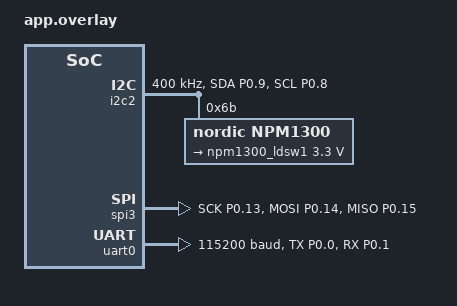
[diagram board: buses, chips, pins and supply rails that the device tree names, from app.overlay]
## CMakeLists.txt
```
cmake_minimum_required(VERSION 3.20.0)

find_package(Zephyr REQUIRED HINTS $ENV{ZEPHYR_BASE})
project(memory)

target_sources(app PRIVATE src/main.c)
```

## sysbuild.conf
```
SB_CONFIG_WIFI_NRF70=y
SB_CONFIG_WIFI_NRF70_SCAN_ONLY=y
```

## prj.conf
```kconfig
# ==========================================================
# SYSTEM, KERNEL & MEMORY
# ==========================================================
CONFIG_EVENTS=y
CONFIG_ZBUS=y
CONFIG_SMF=y
CONFIG_ZBUS_MSG_SUBSCRIBER=y

# --- ADJUSTED MEMORY LIMITS TO FIT IN RAM ---
CONFIG_MAIN_STACK_SIZE=4096
CONFIG_SYSTEM_WORKQUEUE_STACK_SIZE=4096
CONFIG_HEAP_MEM_POOL_SIZE=16000

# --- CATCH CRASHES IN HUMAN TEXT ---
CONFIG_HW_STACK_PROTECTION=y
CONFIG_INIT_STACKS=y
CONFIG_THREAD_STACK_INFO=y

# ==========================================================
# C++ & EDGE IMPULSE SDK (Replaces Picolibc)
# ==========================================================
CONFIG_CPP=y
CONFIG_STD_CPP17=y
CONFIG_REQUIRES_FULL_LIBCPP=y
CONFIG_NEWLIB_LIBC=y
CONFIG_NEWLIB_LIBC_FLOAT_PRINTF=y
CONFIG_CBPRINTF_FP_SUPPORT=y
CONFIG_FPU=y

# ==========================================================
# CONSOLE & LOGGING
# ==========================================================
CONFIG_SERIAL=y
CONFIG_CONSOLE=y
CONFIG_UART_CONSOLE=y
CONFIG_STDOUT_CONSOLE=y
CONFIG_PRINTK=y
CONFIG_LOG=y
CONFIG_LOG_MODE_IMMEDIATE=y
CONFIG_STACK_SENTINEL=y             

# ==========================================================
# SENSORS: I2C (BMI270/ICP20100 now driven by raw I2C)
# ==========================================================
CONFIG_I2C=y

CONFIG_ASSERT=y
CONFIG_THREAD_NAME=y
CONFIG_RESET_ON_FATAL_ERROR=n

# ==========================================================
# UI: OLED + PWM LEDs + BUZZER
# ==========================================================
CONFIG_DISPLAY=n
#CONFIG_SSD1306=y
#CONFIG_CHARACTER_FRAMEBUFFER=y
CONFIG_PWM=y
CONFIG_LED=y
CONFIG_LED_PWM=y

# ==========================================================
# PMIC: nPM1300
# ==========================================================
CONFIG_SENSOR=y
CONFIG_MFD_NPM13XX=y
CONFIG_REGULATOR=y
CONFIG_REGULATOR_NPM13XX=y
CONFIG_CHARGER=y
CONFIG_NPM13XX_CHARGER=y

# ==========================================================
# WI-FI (SCAN ONLY)
# ==========================================================
CONFIG_SPI=y
CONFIG_WIFI=y
CONFIG_WIFI_NRF70=y
CONFIG_NETWORKING=y
CONFIG_NET_MGMT=y
CONFIG_NET_MGMT_EVENT=y
CONFIG_NET_MGMT_EVENT_INFO=y
CONFIG_NET_MGMT_EVENT_QUEUE_SIZE=16
CONFIG_NET_L2_WIFI_MGMT=y

CONFIG_NET_L2_ETHERNET=y
CONFIG_NET_IPV4=y

CONFIG_NRF_WIFI_CTRL_HEAP_SIZE=10000
CONFIG_NRF_WIFI_DATA_HEAP_SIZE=12000


# Enable a random MAC address
CONFIG_WIFI_RANDOM_MAC_ADDRESS=y

# Enable a hardware entropy generator 
CONFIG_ENTROPY_GENERATOR=y

CONFIG_WIFI_LOG_LEVEL_INF=y
CONFIG_WIFI_NRF70_LOG_LEVEL_INF=y
CONFIG_NET_LOG=y

CONFIG_NRF70_RX_NUM_BUFS=4
CONFIG_NET_BUF_RX_COUNT=6
CONFIG_NET_BUF_TX_COUNT=6
CONFIG_NET_PKT_RX_COUNT=4
CONFIG_NET_PKT_TX_COUNT=4

CONFIG_NET_TX_STACK_SIZE=1024
CONFIG_NET_RX_STACK_SIZE=1024


# ==========================================================
# LTE MODEM (nRF9151 — socket offload for MQTT)
# ==========================================================
CONFIG_NRF_MODEM_LIB=y
CONFIG_LTE_LINK_CONTROL=y
CONFIG_LTE_NETWORK_MODE_LTE_M_GPS=y
CONFIG_MODEM_INFO=y
CONFIG_NET_SOCKETS=y
CONFIG_NET_SOCKETS_OFFLOAD=y
CONFIG_POSIX_API=y
# RC oscillator — no external 32 kHz crystal on custom PCB
CONFIG_CLOCK_CONTROL_NRF_K32SRC_XTAL=n
CONFIG_CLOCK_CONTROL_NRF_K32SRC_RC=y
CONFIG_CLOCK_CONTROL_NRF_K32SRC_500PPM=y

CONFIG_NET_IPV6=n

# ==========================================================
# MQTT
# ==========================================================
CONFIG_MQTT_HELPER=y
CONFIG_MQTT_CLEAN_SESSION=y
CONFIG_MQTT_KEEPALIVE=1200

# CONFIG_MQTT_BOOTSTRAP_SECURITY_CODE is a CUSTOM symbol defined by the
# final project's own Kconfig file. This test project has no Kconfig,
# so the line is disabled to avoid an "undefined symbol" build error.
# CONFIG_MQTT_BOOTSTRAP_SECURITY_CODE="987654"

CONFIG_MFD_NPM13XX_INIT_PRIORITY=74
CONFIG_REGULATOR_NPM13XX_COMMON_INIT_PRIORITY=75
CONFIG_REGULATOR_NPM13XX_INIT_PRIORITY=76
CONFIG_SENSOR_INIT_PRIORITY=80
CONFIG_WIFI_INIT_PRIORITY=85

CONFIG_BMI270=n
CONFIG_ICP201XX=n

# --- FIX NETWORK INTERFACE ALLOCATION CRASH ---
CONFIG_NET_IF_MAX_IPV4_COUNT=2
CONFIG_NET_IF_UNICAST_IPV4_ADDR_COUNT=2
CONFIG_NET_MAX_CONTEXTS=4

CONFIG_NET_TCP=n
CONFIG_NET_UDP=y
# ==========================================================
# EXTERNAL SPI NOR FLASH: Winbond W25Q64JW on SPI3 (CS=P0.10)
# ==========================================================
CONFIG_FLASH=y
CONFIG_FLASH_PAGE_LAYOUT=y
CONFIG_FLASH_MAP=y
CONFIG_SPI_NOR=y
# Sector-granularity flash layout (4 KB erase units)
CONFIG_SPI_NOR_FLASH_LAYOUT_PAGE_SIZE=4096

CONFIG_PM_DEVICE=y
```

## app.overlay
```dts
#include <zephyr/dt-bindings/regulator/npm13xx.h>

&pinctrl {
    /* --- UART0 --- */
    uart0_default: uart0_default {
        group1 {
            psels = <NRF_PSEL(UART_TX, 0, 0)>,
                    <NRF_PSEL(UART_RX, 0, 1)>;
        };
    };
    uart0_sleep: uart0_sleep {
        group1 {
            psels = <NRF_PSEL(UART_TX, 0, 0)>,
                    <NRF_PSEL(UART_RX, 0, 1)>;
            low-power-enable;
        };
    };

    /* --- I2C2 --- */
    i2c2_default: i2c2_default {
        group1 {
            psels = <NRF_PSEL(TWIM_SDA, 0, 9)>,
                    <NRF_PSEL(TWIM_SCL, 0, 8)>;
        };
    };
    i2c2_sleep: i2c2_sleep {
        group1 {
            psels = <NRF_PSEL(TWIM_SDA, 0, 9)>,
                    <NRF_PSEL(TWIM_SCL, 0, 8)>;
            low-power-enable;
        };
    };

    /* --- SPI3 --- */
    spi3_default: spi3_default {
        group1 {
            psels = <NRF_PSEL(SPIM_SCK,  0, 13)>,
                    <NRF_PSEL(SPIM_MOSI, 0, 14)>;
        };
        group2 {
            psels = <NRF_PSEL(SPIM_MISO, 0, 15)>;
            bias-pull-up; /* Prevents DMA hang on floating MISO */
        };
    };
    spi3_sleep: spi3_sleep {
        group1 {
            psels = <NRF_PSEL(SPIM_SCK, 0, 13)>,
                    <NRF_PSEL(SPIM_MOSI, 0, 14)>,
                    <NRF_PSEL(SPIM_MISO, 0, 15)>;
            low-power-enable;
        };
    };
};

&i2c2 {
    status = "okay";
    pinctrl-0 = <&i2c2_default>;
    pinctrl-1 = <&i2c2_sleep>;
    pinctrl-names = "default", "sleep";
    clock-frequency = <I2C_BITRATE_FAST>;

    /* Allocate RAM buffer for the BMI270 8KB config bursts */
    zephyr,concat-buf-size = <2048>;
    zephyr,flash-buf-max-size = <2048>;

    /* =========================================
     * nPM1300 PMIC (Parent Node)
     * ========================================= */
    npm1300: pmic@6b {
        compatible = "nordic,npm1300";
        reg = <0x6b>;
        status = "okay";

        /* Sub-node: Regulators Container */
        npm1300_regulators: regulators {
            compatible = "nordic,npm1300-regulator";
            status = "okay";
        };

        /* Sub-node: Charger (MUST be inside pmic@6b) */
        npm1300_charger: charger {
            compatible = "nordic,npm1300-charger";
            status = "okay";
            vbus-limit-microamp = <500000>;
            term-microvolt = <4200000>;
            current-microamp = <400000>;
            dischg-limit-microamp = <1000000>;
            thermistor-ohms = <10000>;
            thermistor-beta = <3380>;
        };
    };

};

&spi3 {
    status = "okay";
    pinctrl-0 = <&spi3_default>;
    pinctrl-1 = <&spi3_sleep>;
    pinctrl-names = "default", "sleep";

    /* REMOVED: cs-gpios and the flash@0 node so the OS doesn't touch Pin 10! */
};


/* Enable UART0 */
&uart0 {
    status = "okay";
    pinctrl-0 = <&uart0_default>;
    pinctrl-1 = <&uart0_sleep>;
    pinctrl-names = "default", "sleep";
    current-speed = <115200>;
};

&npm1300_regulators {
    npm1300_ldsw1: LDO1 {
        status = "okay";
        regulator-min-microvolt = <3300000>;
        regulator-max-microvolt = <3300000>;
        regulator-initial-mode = <NPM13XX_LDSW_MODE_LDSW>;

        /* FORCE Discharge resistor on when disabled! */
        active-discharge;

        /* Ensure Zephyr doesn't secretly turn it on during boot */
        /delete-property/ regulator-boot-on;
        /delete-property/ regulator-always-on;
    };
};
```

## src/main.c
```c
/*
 * W25Q64JW external flash test -- nRF9151 custom bracelet PCB
 * -----------------------------------------------------------
 * The flash shares SPI3 with the nRF7002 Wi-Fi chip:
 *   CS0 = P0.12 (nRF7002),  CS1 = P0.10 (W25Q64JW)
 *
 * Test phases:
 *   1. Device ready check (driver reads + verifies JEDEC ID EF 60 17
 *      at boot -- if this fails, it's wiring/power/CS, not software)
 *   2. Erase / write / read-back verify on one 4 KB sector
 *   3. Pattern sweep + throughput over a 64 KB region
 *   4. BUS SHARING: bring up the nRF7002 and run an active Wi-Fi scan
 *      (init copied from comms.c) while continuously reading + verifying
 *      flash. Any mismatch here = bus contention / CS isolation problem.
 *
 * DESTRUCTIVE: erases the first 64 KB of the flash chip.
 */

#include <zephyr/kernel.h>
#include <zephyr/device.h>
#include <zephyr/drivers/flash.h>
#include <zephyr/logging/log.h>
#include <zephyr/net/net_if.h>
#include <zephyr/net/net_mgmt.h>
#include <zephyr/net/net_event.h>
#include <zephyr/net/wifi_mgmt.h>
#include <string.h>

LOG_MODULE_REGISTER(flash_test, LOG_LEVEL_INF);

/* ================= FLASH ================= */

#define FLASH_NODE   DT_NODELABEL(w25q64jw)
static const struct device *flash_dev = DEVICE_DT_GET(FLASH_NODE);

#define SECTOR_SIZE  4096
#define PAGE_SIZE    256
#define TEST_OFFSET  0x000000
#define TEST_SPAN    (64 * 1024)   /* 16 sectors */

static uint8_t wr_buf[PAGE_SIZE];
static uint8_t rd_buf[PAGE_SIZE];

/* Deterministic address-derived pattern so any page can be re-verified
 * without storing what was written. */
static void fill_pattern(uint8_t *buf, size_t len, uint32_t addr)
{
    for (size_t i = 0; i < len; i++) {
        uint32_t a = addr + i;
        buf[i] = (uint8_t)((a ^ (a >> 8) ^ 0x5A) + (a >> 16));
    }
}

static int verify_erased(uint32_t offset, size_t len)
{
    for (uint32_t off = offset; off < offset + len; off += PAGE_SIZE) {
        int err = flash_read(flash_dev, off, rd_buf, PAGE_SIZE);
        if (err) {
            LOG_ERR("flash_read @0x%06X failed: %d", off, err);
            return err;
        }
        for (int i = 0; i < PAGE_SIZE; i++) {
            if (rd_buf[i] != 0xFF) {
                LOG_ERR("Not erased @0x%06X: 0x%02X", off + i, rd_buf[i]);
                return -EIO;
            }
        }
    }
    return 0;
}

static int verify_pattern(uint32_t offset, size_t len, int *mismatches)
{
    for (uint32_t off = offset; off < offset + len; off += PAGE_SIZE) {
        int err = flash_read(flash_dev, off, rd_buf, PAGE_SIZE);
        if (err) {
            LOG_ERR("flash_read @0x%06X failed: %d", off, err);
            return err;
        }
        fill_pattern(wr_buf, PAGE_SIZE, off);
        if (memcmp(rd_buf, wr_buf, PAGE_SIZE) != 0) {
            (*mismatches)++;
            for (int i = 0; i < PAGE_SIZE; i++) {
                if (rd_buf[i] != wr_buf[i]) {
                    LOG_ERR("MISMATCH @0x%06X: wrote 0x%02X read 0x%02X",
                            off + i, wr_buf[i], rd_buf[i]);
                    break; /* first byte of this page is enough */
                }
            }
        }
    }
    return 0;
}

/* ============ WI-FI (init copied from comms.c) ============ */

static struct net_mgmt_event_callback wifi_cb;
static K_SEM_DEFINE(scan_done_sem, 0, 1);
static volatile int scan_results;

static void wifi_event_handler(struct net_mgmt_event_callback *cb,
                               uint64_t mgmt_event, struct net_if *iface)
{
    switch (mgmt_event) {
    case NET_EVENT_WIFI_SCAN_RESULT:
    {
        const struct wifi_scan_result *entry =
            (const struct wifi_scan_result *)cb->info;
        scan_results++;
        LOG_INF("[%02d] BSSID=%02X:%02X:%02X:%02X:%02X:%02X  RSSI=%d dBm  CH=%d",
                scan_results,
                entry->mac[0], entry->mac[1], entry->mac[2],
                entry->mac[3], entry->mac[4], entry->mac[5],
                entry->rssi, entry->channel);
        break;
    }
    case NET_EVENT_WIFI_SCAN_DONE:
        LOG_INF("Scan done (%d results)", scan_results);
        k_sem_give(&scan_done_sem);
        break;
    default:
        break;
    }
}

/* Same interface bring-up and scan parameters as comms.c do_wifi_scan() */
static int wifi_start_scan(void)
{
    struct net_if *iface = net_if_get_wifi_sta();

    if (!iface) {
        LOG_ERR("No Wi-Fi interface found");
        return -ENODEV;
    }
    LOG_INF("[OK]   Wi-Fi net_if found (index=%d).", net_if_get_by_iface(iface));

    net_if_up(iface);   /* Wakes nRF7002: bucken + iovdd via DT, like comms */

    struct wifi_scan_params params = {0};

    /* Active scan sends probe requests instead of only listening. */
    params.scan_type = WIFI_SCAN_TYPE_ACTIVE;

    /* Scan both 2.4 GHz and 5 GHz. */
    params.bands = BIT(WIFI_FREQ_BAND_2_4_GHZ) |
                   BIT(WIFI_FREQ_BAND_5_GHZ);

    /* Stay longer on each channel. */
    params.dwell_time_active = 120;
    params.dwell_time_passive = 120;

    /* Return as many APs as possible. */
    params.max_bss_cnt = 64;

    scan_results = 0;
    k_sem_reset(&scan_done_sem);

    int ret = net_mgmt(NET_REQUEST_WIFI_SCAN, iface, &params, sizeof(params));
    if (ret) {
        LOG_ERR("Failed to start scan (%d)", ret);
        return ret;
    }
    LOG_INF("Scanning...");
    return 0;
}

static void wifi_power_down(void)
{
    struct net_if *iface = net_if_get_wifi_sta();
    if (iface) {
        net_if_down(iface); /* Drops bucken-gpios LOW automatically */
    }
}

/* ================= MAIN ================= */

int main(void)
{
    int err;
    int64_t t0;

    printk("=== W25Q64JW flash + shared-SPI-bus test ===\n");

    /* ---- PHASE 1: device ready (JEDEC ID probe) ---- */
    if (!device_is_ready(flash_dev)) {
        LOG_ERR("Flash device NOT ready.");
        LOG_ERR("The spi-nor driver reads the JEDEC ID at boot and rejects");
        LOG_ERR("the device on mismatch. Check: 1V8_SW present at the chip,");
        LOG_ERR("CS on P0.10, MISO/MOSI not swapped, and that the part is");
        LOG_ERR("really the 1.8V 'JW' (EF 60 17) not the 3.3V 'JV' (EF 40 17).");
        return -1;
    }
    LOG_INF("PHASE 1 PASS: flash ready, JEDEC ID verified (EF 60 17).");

    /* ---- PHASE 2: single-sector erase/write/verify ---- */
    LOG_INF("PHASE 2: erase + write + verify one 4 KB sector @0x%06X", TEST_OFFSET);

    err = flash_erase(flash_dev, TEST_OFFSET, SECTOR_SIZE);
    if (err) {
        LOG_ERR("flash_erase failed: %d", err);
        return -1;
    }
    if (verify_erased(TEST_OFFSET, SECTOR_SIZE) != 0) {
        LOG_ERR("PHASE 2 FAIL: sector did not erase to 0xFF");
        return -1;
    }

    for (uint32_t off = TEST_OFFSET; off < TEST_OFFSET + SECTOR_SIZE; off += PAGE_SIZE) {
        fill_pattern(wr_buf, PAGE_SIZE, off);
        err = flash_write(flash_dev, off, wr_buf, PAGE_SIZE);
        if (err) {
            LOG_ERR("flash_write @0x%06X failed: %d", off, err);
            return -1;
        }
    }
    int mism = 0;
    verify_pattern(TEST_OFFSET, SECTOR_SIZE, &mism);
    if (mism) {
        LOG_ERR("PHASE 2 FAIL: %d page(s) mismatched", mism);
        return -1;
    }
    LOG_INF("PHASE 2 PASS.");

    /* ---- PHASE 3: 64 KB sweep + throughput ---- */
    LOG_INF("PHASE 3: %d KB erase/write/read sweep", TEST_SPAN / 1024);

    t0 = k_uptime_get();
    err = flash_erase(flash_dev, TEST_OFFSET, TEST_SPAN);
    if (err) {
        LOG_ERR("Block erase failed: %d", err);
        return -1;
    }
    LOG_INF("  Erase %d KB: %lld ms", TEST_SPAN / 1024, k_uptime_get() - t0);

    t0 = k_uptime_get();
    for (uint32_t off = TEST_OFFSET; off < TEST_OFFSET + TEST_SPAN; off += PAGE_SIZE) {
        fill_pattern(wr_buf, PAGE_SIZE, off);
        err = flash_write(flash_dev, off, wr_buf, PAGE_SIZE);
        if (err) {
            LOG_ERR("flash_write @0x%06X failed: %d", off, err);
            return -1;
        }
    }
    int64_t dt = k_uptime_get() - t0;
    LOG_INF("  Write %d KB: %lld ms (%lld KB/s)",
            TEST_SPAN / 1024, dt, dt ? (TEST_SPAN / 1024) * 1000 / dt : 0);

    t0 = k_uptime_get();
    mism = 0;
    verify_pattern(TEST_OFFSET, TEST_SPAN, &mism);
    dt = k_uptime_get() - t0;
    LOG_INF("  Read+verify %d KB: %lld ms (%lld KB/s), mismatches: %d",
            TEST_SPAN / 1024, dt, dt ? (TEST_SPAN / 1024) * 1000 / dt : 0, mism);
    if (mism) {
        LOG_ERR("PHASE 3 FAIL.");
        return -1;
    }
    LOG_INF("PHASE 3 PASS.");

    /* ---- PHASE 4: shared-bus stress -- flash reads DURING a Wi-Fi scan ---- */
    LOG_INF("PHASE 4: nRF7002 active scan while hammering flash reads");
    LOG_INF("         (validates SPI3 arbitration + CS isolation)");

    net_mgmt_init_event_callback(&wifi_cb, wifi_event_handler,
                                 NET_EVENT_WIFI_SCAN_RESULT |
                                 NET_EVENT_WIFI_SCAN_DONE);
    net_mgmt_add_event_callback(&wifi_cb);

    err = wifi_start_scan();
    if (err) {
        LOG_WRN("Wi-Fi unavailable (%d); skipping the coexistence phase.", err);
    } else {
        int loops = 0;
        mism = 0;
        /* Read + verify the whole 64 KB repeatedly until the scan ends.
         * The Wi-Fi driver is doing SPI traffic to the nRF7002 on the
         * same bus the whole time. Zephyr serializes transactions per
         * controller, so any corruption seen here is HARDWARE (CS
         * glitching, bus loading, drive strength), not scheduling. */
        while (k_sem_take(&scan_done_sem, K_NO_WAIT) != 0) {
            verify_pattern(TEST_OFFSET, TEST_SPAN, &mism);
            loops++;
        }
        LOG_INF("  Verified 64 KB x%d during scan, %d APs seen, mismatches: %d",
                loops, scan_results, mism);
        if (mism) {
            LOG_ERR("PHASE 4 FAIL: bus contention corrupted flash reads!");
        } else {
            LOG_INF("PHASE 4 PASS: flash + Wi-Fi coexist cleanly on SPI3.");
        }
        wifi_power_down();
    }

    printk("=== Flash test complete ===\n");
    return 0;
}
```
